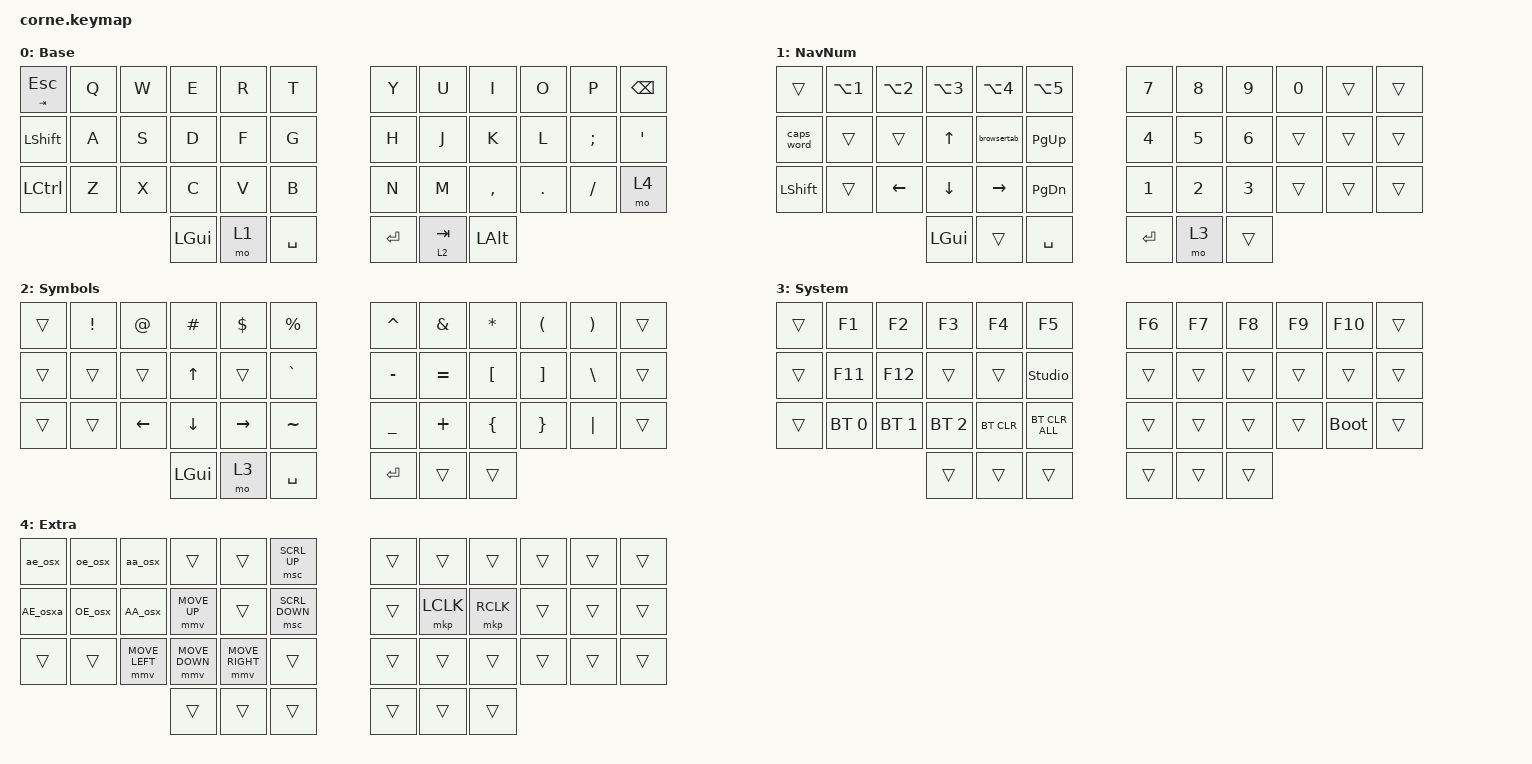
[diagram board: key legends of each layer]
#include <behaviors.dtsi>
#include <dt-bindings/zmk/bt.h>
#include <dt-bindings/zmk/keys.h>
#include <dt-bindings/zmk/pointing.h>

#define DEF 0
#define NAV 1
#define SYM 2
#define ADJ 3
#define EXTRA 4

/ {
    behaviors {
        hm: homerow_mods {
            compatible = "zmk,behavior-hold-tap";
            #binding-cells = <2>;
            tapping-term-ms = <200>;
            flavor = "tap-preferred";
            bindings = <&kp>, <&kp>;

            quick-tap-ms = <180>;
            require-prior-idle-ms = <120>; /* tune to taste */
        };

        para: para {
            compatible = "zmk,behavior-tap-dance";
            #binding-cells = <0>;
            bindings = <&kp LEFT_PARENTHESIS>, <&kp RIGHT_PARENTHESIS>;
        };

        caps: caps {
            compatible = "zmk,behavior-caps-word";
            #binding-cells = <0>;
            continue-list = <MINUS BACKSPACE>;
        };

        paraless: paraless {
            compatible = "zmk,behavior-mod-morph";
            bindings = <&kp LEFT_PARENTHESIS>, <&kp LESS_THAN>;

            #binding-cells = <0>;
            mods = <(MOD_LSFT)>;
        };

        paragreat: paragreat {
            compatible = "zmk,behavior-mod-morph";
            bindings = <&kp RIGHT_PARENTHESIS>, <&kp GREATER_THAN>;

            #binding-cells = <0>;
            mods = <(MOD_LSFT)>;
        };
    };

    macros {
        browsertab: browsertab {
            compatible = "zmk,behavior-macro";
            #binding-cells = <0>;
            bindings =
                <&macro_press>,
                <&kp LCTRL>,
                <&macro_tap>,
                <&kp TAB>,
                <&macro_release>,
                <&kp LCTRL>;
        };

        AA_osx: aa_osx {
            compatible = "zmk,behavior-macro";
            #binding-cells = <0>;
            bindings =
                <&macro_press>,
                <&kp LALT &kp LEFT_SHIFT>,
                <&macro_tap>,
                <&kp A>,
                <&macro_release>,
                <&kp LALT &kp LEFT_SHIFT>;

            label = "AA_OSX";
        };

        aa_osx: AA_osx {
            compatible = "zmk,behavior-macro";
            #binding-cells = <0>;
            bindings =
                <&macro_press>,
                <&kp LALT>,
                <&macro_tap>,
                <&kp A>,
                <&macro_release>,
                <&kp LALT>;

            label = "AA_OSX";
        };

        oe_osx: oe_osx {
            compatible = "zmk,behavior-macro";
            #binding-cells = <0>;
            bindings =
                <&macro_press>,
                <&kp LALT>,
                <&macro_tap>,
                <&kp O>,
                <&macro_release>,
                <&kp LALT>;

            label = "OE_OSX";
        };

        OE_osx: OE_osx {
            compatible = "zmk,behavior-macro";
            #binding-cells = <0>;
            bindings =
                <&macro_press>,
                <&kp LALT &kp LEFT_SHIFT>,
                <&macro_tap>,
                <&kp O>,
                <&macro_release>,
                <&kp LALT &kp LEFT_SHIFT>;

            label = "OE_OSX";
        };

        AE_osxa: AE_osx {
            compatible = "zmk,behavior-macro";
            #binding-cells = <0>;
            bindings =
                <&macro_press>,
                <&kp LALT &kp LEFT_SHIFT>,
                <&macro_tap>,
                <&kp APOSTROPHE>,
                <&macro_release>,
                <&kp LALT &kp LEFT_SHIFT>;

            label = "AE_OSX";
        };

        ae_osx: ae_osx {
            compatible = "zmk,behavior-macro";
            #binding-cells = <0>;
            bindings =
                <&macro_press>,
                <&kp LALT>,
                <&macro_tap>,
                <&kp APOSTROPHE>,
                <&macro_release>,
                <&kp LALT>;

            label = "AE_OSX";
        };
    };

    combos {
        compatible = "zmk,combos";

        escape {
            bindings = <&kp ESCAPE>;
            key-positions = <13 29>;
        };

        delete {
            bindings = <&kp DELETE>;
            key-positions = <15 21>;
        };

        perc {
            bindings = <&kp PERCENT>;
            key-positions = <5 17>;
            layers = <0>;
        };

        equal {
            bindings = <&kp EQUAL>;
            key-positions = <28 16>;
            layers = <0>;
        };

        dollar {
            bindings = <&kp DOLLAR>;
            key-positions = <4 16>;
            layers = <0>;
        };

        pound {
            bindings = <&kp POUND>;
            key-positions = <3 15>;
            layers = <0>;
        };

        at {
            bindings = <&kp AT>;
            key-positions = <2 14>;
            layers = <0>;
        };

        backslash {
            bindings = <&kp BACKSLASH>;
            key-positions = <26 14>;
            layers = <0>;
        };

        star {
            bindings = <&kp STAR>;
            key-positions = <8 20>;
            layers = <0>;
        };

        slash {
            bindings = <&kp SLASH>;
            key-positions = <32 20>;
            layers = <0>;
        };

        plus {
            bindings = <&kp PLUS>;
            key-positions = <7 19>;
            layers = <0>;
        };

        minus {
            bindings = <&kp KP_MINUS>;
            key-positions = <31 19>;
            layers = <0>;
        };

        underscore {
            bindings = <&kp UNDER>;
            key-positions = <30 18>;
            layers = <0>;
        };

        leftbrack {
            bindings = <&kp LEFT_BRACKET>;
            key-positions = <31 32>;
            layers = <0>;
        };

        rightbrack {
            bindings = <&kp RIGHT_BRACKET>;
            key-positions = <33 32>;
            layers = <0>;
        };

        para-less {
            bindings = <&paraless>;
            key-positions = <20 19>;
            layers = <0>;
        };

        para-great {
            bindings = <&paragreat>;
            key-positions = <20 21>;
            layers = <0>;
        };

        copy {
            bindings = <&kp LC(C)>;
            key-positions = <26 27>;
        };

        paste {
            bindings = <&kp LC(V)>;
            key-positions = <28 27>;
        };
    };

    //

    keymap {
        compatible = "zmk,keymap";

        DEF {
            display-name = "Base";

            // -----------------------------------------------------------------------------------------
            // |  Q  |  W  |  E  |  R  |  T  |   |  Y  |  U   |  I  |  O  |  P  |
            // |  A  |  S  |  D  |  F  |  G  |   |  H  |  J   |  K  |  L  |  ;  |
            // |  Z  |  X  |  C  |  V  |  B  |   |  N  |  M   |  ,  |  .  |  /  |
            // | GUI | CTRL | SHFT | LWR | SPC |   | ENT | RSE  | BKSP | ALT | ESC |

            bindings = <
&mt TAB ESC  &kp Q  &kp W  &kp E     &kp R  &kp T        &kp Y    &kp U      &kp I         &kp O    &kp P     &kp BACKSPACE
&kp LSHFT    &kp A  &kp S  &kp D     &kp F  &kp G        &kp H    &kp J      &kp K         &kp L    &kp SEMI  &kp SQT
&kp LCTRL    &kp Z  &kp X  &kp C     &kp V  &kp B        &kp N    &kp M      &kp COMMA     &kp DOT  &kp FSLH  &mo 4
                           &kp LGUI  &mo 1  &kp SPACE    &kp RET  &lt 2 TAB  &kp LEFT_ALT
            >;
        };

        NAV {
            display-name = "NavNum";

            // -----------------------------------------------------------------------------------------
            // |  TAB |  1  |  2  |  3  |  4  |  5  |   |  6  |  7  |  8  |  9  |  0  | BKSP |
            // | BTCLR| BT1 | BT2 | BT3 | BT4 | BT5 |   | LFT | DWN |  UP | RGT |     |      |
            // | SHFT |     |     |     |     |     |   |     |     |     |     |     |      |
            // | GUI | CTRL | SHFT | LWR | SPC |   | ENT | RSE  | BKSP | ALT | ESC |

            bindings = <
&trans          &kp LA(N1)  &kp LA(N2)  &kp LA(N3)    &kp LA(N4)       &kp LA(N5)       &kp N7   &kp N8  &kp N9  &kp N0  &trans  &trans
&caps_word      &trans      &trans      &kp UP_ARROW  &browsertab      &kp PAGE_UP      &kp N4   &kp N5  &kp N6  &trans  &trans  &trans
&kp LEFT_SHIFT  &trans      &kp LEFT    &kp DOWN      &kp RIGHT_ARROW  &kp PAGE_DOWN    &kp N1   &kp N2  &kp N3  &trans  &trans  &trans
                                        &kp LGUI      &trans           &kp SPACE        &kp RET  &mo 3   &trans
            >;
        };

        SYM {
            display-name = "Symbols";

            // -----------------------------------------------------------------------------------------
            // |  TAB |  !  |  @  |  #  |  $  |  %  |   |  ^  |  &  |  *  |  (  |  )  | BKSP |
            // | CTRL |     |     |     |     |     |   |  -  |  =  |  [  |  ]  |  \  |  `   |
            // | SHFT |     |     |     |     |     |   |  _  |  +  |  {  |  }  | "|" |  ~   |
            //                    | GUI |     | SPC |   | ENT |     | ALT |

            bindings = <
&trans  &kp EXCL  &kp AT          &kp HASH        &kp DLLR         &kp PRCNT    &kp CARET  &kp AMPS   &kp ASTRK  &kp LEFT_PARENTHESIS  &kp RPAR  &trans
&trans  &trans    &trans          &kp UP_ARROW    &trans           &kp GRAVE    &kp MINUS  &kp EQUAL  &kp LBKT   &kp RBKT              &kp BSLH  &trans
&trans  &trans    &kp LEFT_ARROW  &kp DOWN_ARROW  &kp RIGHT_ARROW  &kp TILDE    &kp UNDER  &kp PLUS   &kp LBRC   &kp RBRC              &kp PIPE  &trans
                                  &kp LGUI        &mo 3            &kp SPACE    &kp RET    &trans     &trans
            >;
        };

        ADJ {
            display-name = "System";
            bindings = <
&trans  &kp F1        &kp F2        &kp F3        &kp F4      &kp F5            &kp F6  &kp F7  &kp F8  &kp F9  &kp F10      &trans
&trans  &kp F11       &kp F12       &trans        &trans      &studio_unlock    &trans  &trans  &trans  &trans  &trans       &trans
&trans  &bt BT_SEL 0  &bt BT_SEL 1  &bt BT_SEL 2  &bt BT_CLR  &bt BT_CLR_ALL    &trans  &trans  &trans  &trans  &bootloader  &trans
                                    &trans        &trans      &trans            &trans  &trans  &trans
            >;
        };

        EXTRA {
            display-name = "Extra";
            bindings = <
&ae_osx   &oe_osx  &aa_osx         &trans          &trans           &msc SCRL_UP      &trans  &trans     &trans     &trans  &trans  &trans
&AE_osxa  &OE_osx  &AA_osx         &mmv MOVE_UP    &trans           &msc SCRL_DOWN    &trans  &mkp LCLK  &mkp RCLK  &trans  &trans  &trans
&trans    &trans   &mmv MOVE_LEFT  &mmv MOVE_DOWN  &mmv MOVE_RIGHT  &trans            &trans  &trans     &trans     &trans  &trans  &trans
                                   &trans          &trans           &trans            &trans  &trans     &trans
            >;
        };
    };
};
